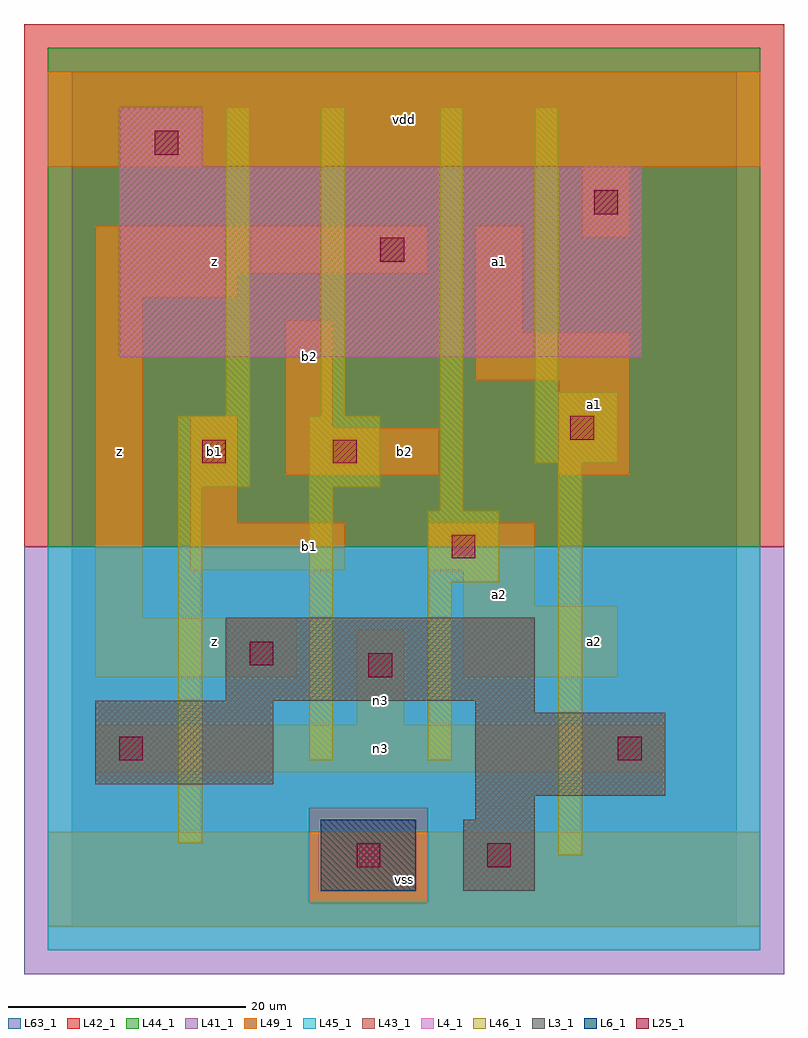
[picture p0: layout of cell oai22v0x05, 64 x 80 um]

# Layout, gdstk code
import gdstk
lib = gdstk.Library(unit=1e-6, precision=1e-09)
def R(c, l, rs):  # rectangles x0, y0, x1, y1
    for r in rs: c.add(gdstk.rectangle(r[:2], r[2:], *l))
L3_1 = (3, 1)
L4_1 = (4, 1)
L6_1 = (6, 1)
L25_1 = (25, 1)
L41_1 = (41, 1)
L42_1 = (42, 1)
L43_1 = (43, 1)
L44_1 = (44, 1)
L45_1 = (45, 1)
L46_1 = (46, 1)
L49_1 = (49, 1)
L63_1 = (63, 1)

oai22v0x05 = lib.new_cell('oai22v0x05')
R(oai22v0x05, L3_1, [(33,3,39,9), (34,9,39,11), (34,11,50,18), (2,12,17,19), (34,18,39,19), (13,19,39,26)])
R(oai22v0x05, L4_1, [(4,48,48,64), (4,64,11,69)])
R(oai22v0x05, L6_1, [(21,3,29,9), (21,3,29,9)])
R(oai22v0x05, L25_1, [(24,5,26,7), (35,5,37,7), (4,14,6,16), (46,14,48,16), (25,21,27,23), (15,22,17,24), (32,31,34,33), (11,39,13,41), (22,39,24,41), (42,41,44,43), (26,56,28,58), (44,60,46,62), (7,65,9,67)])
R(oai22v0x05, L41_1, [(-4,-4,60,32)])
R(oai22v0x05, L42_1, [(-4,32,60,76)])
R(oai22v0x05, L43_1, [(21,3,29,9), (33,3,39,9), (34,9,39,11), (34,11,50,18), (2,12,17,19), (34,18,39,19), (13,19,39,26), (4,48,48,64), (4,64,11,69)])
R(oai22v0x05, L44_1, [(20,2,30,10), (-2,32,58,74)])
R(oai22v0x05, L45_1, [(-2,-2,58,2), (-2,2,20,10), (30,2,58,10), (-2,10,58,32)])
R(oai22v0x05, L46_1, [(41,6,43,39), (9,7,11,37), (20,14,22,37), (30,14,32,29), (30,29,36,35), (31,35,33,69), (9,37,15,43), (20,37,26,43), (39,39,46,45), (13,43,15,69), (21,43,23,69), (39,45,41,69)])
R(oai22v0x05, L49_1, [(-2,0,58,8), (2,13,50,17), (24,17,28,25), (2,21,19,26), (33,21,46,27), (2,26,6,53), (33,27,39,30), (10,30,23,34), (30,30,39,34), (10,34,14,43), (18,38,31,42), (41,38,47,46), (18,42,22,51), (34,46,47,50), (34,50,38,59), (2,53,14,55), (2,55,30,59), (43,58,47,64), (-2,64,58,72)])
R(oai22v0x05, L63_1, [(0,0,56,72)])
oai22v0x05.add(gdstk.Label('z', (4,40), layer=49, texttype=1))
oai22v0x05.add(gdstk.Label('z', (12,24), layer=49, texttype=1))
oai22v0x05.add(gdstk.Label('b1', (20,32), layer=49, texttype=1))
oai22v0x05.add(gdstk.Label('b1', (12,40), layer=49, texttype=1))
oai22v0x05.add(gdstk.Label('b2', (20,48), layer=49, texttype=1))
oai22v0x05.add(gdstk.Label('z', (12,56), layer=49, texttype=1))
oai22v0x05.add(gdstk.Label('vss', (28,4), layer=49, texttype=1))
oai22v0x05.add(gdstk.Label('n3', (26,19), layer=49, texttype=1))
oai22v0x05.add(gdstk.Label('a2', (36,28), layer=49, texttype=1))
oai22v0x05.add(gdstk.Label('b2', (28,40), layer=49, texttype=1))
oai22v0x05.add(gdstk.Label('a1', (36,56), layer=49, texttype=1))
oai22v0x05.add(gdstk.Label('vdd', (28,68), layer=49, texttype=1))
oai22v0x05.add(gdstk.Label('n3', (26,15), layer=49, texttype=1))
oai22v0x05.add(gdstk.Label('a2', (44,24), layer=49, texttype=1))
oai22v0x05.add(gdstk.Label('a1', (44,44), layer=49, texttype=1))

lib.write_gds('oai22v0x05.gds')
